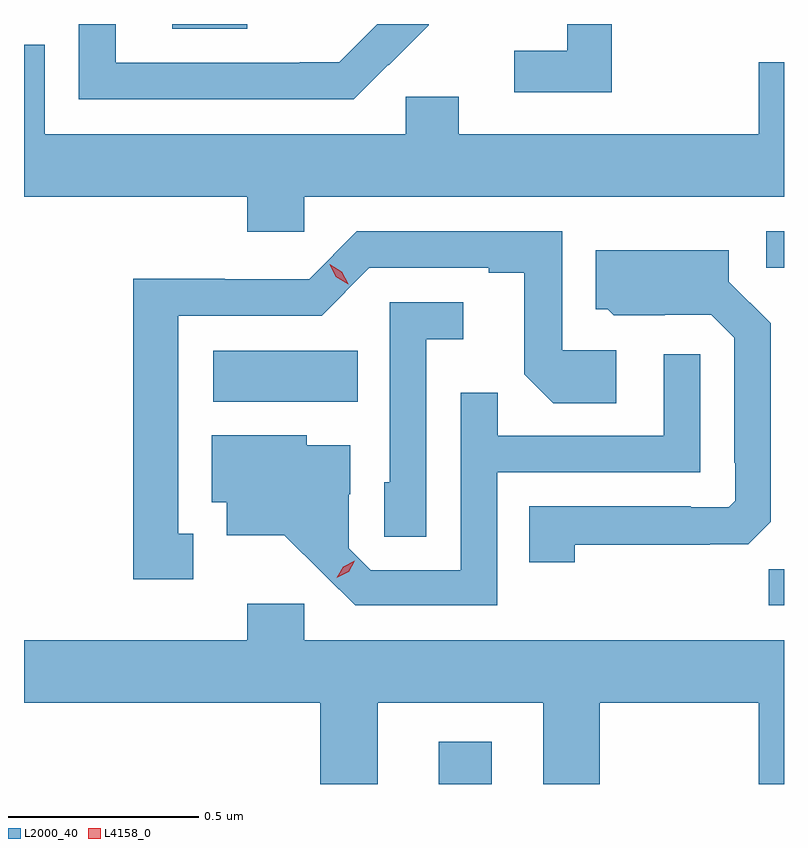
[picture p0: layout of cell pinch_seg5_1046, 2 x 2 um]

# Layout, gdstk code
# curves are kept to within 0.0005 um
import gdstk
lib = gdstk.Library(unit=1e-6, precision=1e-09)
def R(c, l, rs):  # rectangles x0, y0, x1, y1
    for r in rs: c.add(gdstk.rectangle(r[:2], r[2:], *l))
def P(c, l, *ps):  # polygons
    for p in ps: c.add(gdstk.Polygon(p, *l))
L2000_40 = (2000, 40)
L4158_0 = (4158, 0)

pinch_seg5_1046 = lib.new_cell('pinch_seg5_1046')
R(pinch_seg5_1046, L2000_40, [(751.577,841.894,751.717,842.005), (752.446,842.364,752.486,842.459), (750.984,842.9,751.364,843.034), (752.439,843.252,752.486,843.348), (750.876,843.882,751.074,843.894)])
P(pinch_seg5_1046, L2000_40, [(751.445,843.787),(751.446,843.786),(751.551,843.891),(751.551,843.894),(751.416,843.894),(751.315,843.793),(751.211,843.793),(751.211,843.792),(750.727,843.792),(750.727,843.894),(750.63,843.894),(750.63,843.696),(751.354,843.696)],
  [(752.033,843.894),(751.916,843.894),(751.916,843.823),(751.776,843.823),(751.776,843.714),(752.033,843.714)],
  [(751.224,843.44),(752.486,843.44),(752.486,843.793),(752.42,843.793),(752.42,843.604),(751.63,843.604),(751.63,843.702),(751.491,843.702),(751.491,843.604),(750.541,843.604),(750.541,843.84),(750.486,843.84),(750.486,843.44),(751.073,843.44),(751.073,843.347),(751.224,843.347)],
  [(750.931,842.553),(750.892,842.553),(750.892,843.126),(751.269,843.126),(751.395,843.252),(751.709,843.252),(751.709,843.24),(751.803,843.24),(751.803,842.972),(751.879,842.896),(752.044,842.896),(752.044,843.036),(751.902,843.036),(751.902,843.348),(751.362,843.348),(751.236,843.222),(751.014,843.222),(751.014,843.224),(750.774,843.224),(750.774,842.433),(750.931,842.433)],
  [(751.935,842.524),(752.291,842.524),(752.291,842.525),(752.392,842.525),(752.451,842.584),(752.451,843.106),(752.341,843.216),(752.341,843.298),(751.991,843.298),(751.991,843.144),(752.022,843.144),(752.038,843.128),(752.172,843.128),(752.172,843.129),(752.295,843.129),(752.355,843.069),(752.355,842.74),(752.358,842.74),(752.358,842.64),(752.34,842.622),(752.24,842.622),(752.24,842.625),(751.816,842.625),(751.816,842.478),(751.935,842.478)],
  [(751.545,843.065),(751.642,843.065),(751.642,843.162),(751.449,843.162),(751.449,842.688),(751.434,842.688),(751.434,842.545),(751.545,842.545)],
  [(751.731,842.715),(752.265,842.715),(752.265,843.025),(752.169,843.025),(752.169,842.811),(751.733,842.811),(751.733,842.924),(751.635,842.924),(751.635,842.457),(751.398,842.457),(751.341,842.514),(751.341,842.656),(751.345,842.656),(751.345,842.785),(751.23,842.785),(751.23,842.812),(750.98,842.812),(750.98,842.636),(751.019,842.636),(751.019,842.549),(751.171,842.549),(751.358,842.364),(751.731,842.364)],
  [(751.417,842.108),(751.853,842.108),(751.853,841.894),(752.001,841.894),(752.001,842.108),(752.42,842.108),(752.42,841.894),(752.486,841.894),(752.486,842.272),(751.224,842.272),(751.224,842.368),(751.073,842.368),(751.073,842.272),(750.486,842.272),(750.486,842.108),(751.265,842.108),(751.265,841.894),(751.417,841.894)])
P(pinch_seg5_1046, L4158_0, [(751.309,842.437),(751.309,842.437),(751.326,842.466),(751.356,842.482),(751.357,842.482),(751.357,842.481),(751.34,842.452),(751.309,842.437)],
  [(751.339,843.209),(751.307,843.229),(751.29,843.262),(751.29,843.262),(751.29,843.262),(751.322,843.242),(751.339,843.21),(751.339,843.209)])

lib.write_gds('pinch_seg5_1046.gds')
